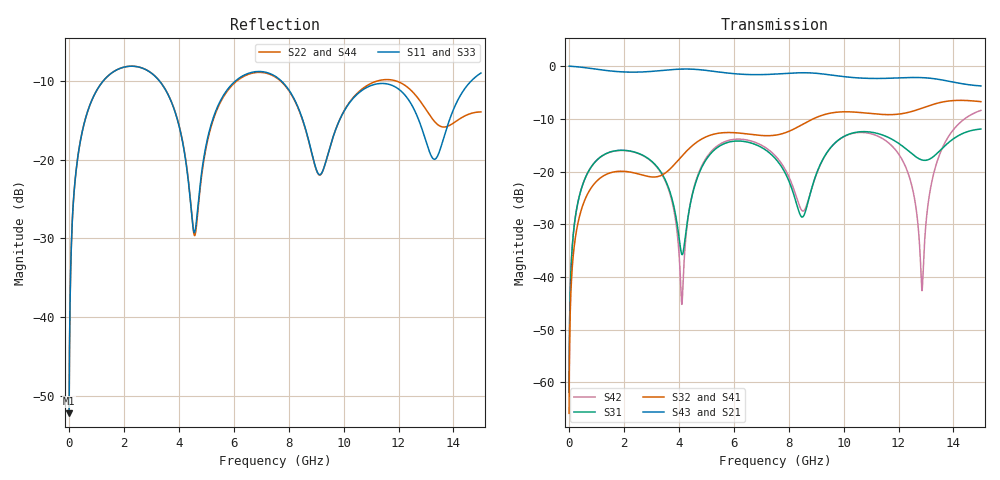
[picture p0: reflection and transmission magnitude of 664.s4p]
! Created with skrf 1.8.0 (http://scikit-rf.org).
# GHz S RI R 50.0
!freq ReS11 ImS11 ReS12 ImS12 ReS13 ImS13
! ReS14 ImS14
! ReS21 ImS21 ReS22 ImS22 ReS23 ImS23
! ReS24 ImS24
! ReS31 ImS31 ReS32 ImS32 ReS33 ImS33
! ReS34 ImS34
! ReS41 ImS41 ReS42 ImS42 ReS43 ImS43
! ReS44 ImS44
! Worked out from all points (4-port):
!   2499 points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, 5 MHz to 15 GHz, reference 50 ohm
!   strongest paths, dB at 5 MHz, 3.476 GHz, 7.19 GHz, 11.1 GHz, 15 GHz:
!     S43: 0.0, -0.8, -1.6, -2.3, -3.8
!     S21: 0.0, -0.8, -1.6, -2.3, -3.8
!     S32: -65.9, -20.4, -13.2, -9.1, -6.7
!     S41: -65.9, -20.4, -13.2, -9.1, -6.8
!     S31: -61.8, -21.3, -16.0, -12.6, -11.9
!     S42: -61.8, -21.5, -15.6, -13.0, -8.4
!   lowest |S11| = -52.2 dB at 5 MHz (marker M1), VSWR 1.00, Z = 50.2 + j0.149 ohm
!   |S11| at or under -10 dB: start of sweep to 1.253 GHz; 3.289 GHz to 6.07 GHz (2.781 GHz wide, 59.4 % of centre); 7.725 GHz to 14.65 GHz (6.929 GHz wide, 61.9 % of centre)
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0.005  0.00196 0.00148  0.998 -0.00381  0.0001 0.000803  -9.73e-05 -0.0005
       0.998 -0.00381  0.00196 0.00148  -9.73e-05 -0.0005  0.0001 0.000803
       0.0001 0.000803  -9.73e-05 -0.0005  0.00196 0.00148  0.998 -0.00381
       -9.73e-05 -0.0005  0.0001 0.000803  0.998 -0.00381  0.00196 0.00148
1.619545  0.3348 0.1347  0.3825 -0.8072  0.1519 0.036  -0.0964 0.022
          0.3825 -0.8072  0.3349 0.1346  -0.0965 0.022  0.1514 0.0371
          0.1519 0.036  -0.0965 0.022  0.3349 0.1348  0.3824 -0.8071
          -0.0964 0.022  0.1514 0.0371  0.3824 -0.8071  0.3351 0.1346
4.107962  0.0703 -0.1178  -0.8599 -0.3716  -0.0154 -0.00578  -0.0518 0.1298
          -0.8599 -0.3716  0.0697 -0.1198  -0.0512 0.1301  -0.00531 -0.00142
          -0.0154 -0.00578  -0.0512 0.1301  0.0713 -0.1189  -0.8596 -0.3717
          -0.0518 0.1298  -0.00531 -0.00142  -0.8596 -0.3717  0.0699 -0.1212
7.084202  0.3584 -0.0383  -0.00774 0.8304  0.1464 -0.0759  0.2096 -0.063
          -0.00774 0.8304  0.3547 -0.0324  0.2094 -0.0644  0.1485 -0.0895
          0.1464 -0.0759  0.2094 -0.0644  0.3576 -0.0395  -0.00644 0.8306
          0.2096 -0.063  0.1485 -0.0895  -0.00644 0.8306  0.3544 -0.0324
9.435181  0.0992 0.0453  0.8297 -0.0277  0.0469 0.1496  -0.0324 -0.3524
          0.8297 -0.0277  0.0977 0.048  -0.0349 -0.3524  0.0418 0.1505
          0.0469 0.1496  -0.0349 -0.3524  0.0983 0.0457  0.8294 -0.031
          -0.0324 -0.3524  0.0418 0.1505  0.8294 -0.031  0.0993 0.0492
12.85536  0.1373 -0.075  -0.4969 -0.5989  -0.0942 -0.0877  -0.3004 0.2624
          -0.4969 -0.5989  0.2002 -0.106  -0.2965 0.2671  0.00715 0.00196
          -0.0942 -0.0877  -0.2965 0.2671  0.1432 -0.0744  -0.501 -0.5941
          -0.3004 0.2624  0.00715 0.00196  -0.501 -0.5941  0.1994 -0.1131
15  0.3434 0.0864  -0.5638 0.3215  0.1406 0.21  0.3088 0.3395
    -0.5638 0.3215  0.1984 -0.0303  0.3137 0.3363  0.3711 0.0823
    0.1406 0.21  0.3137 0.3363  0.3447 0.0806  -0.5583 0.3295
    0.3088 0.3395  0.3711 0.0823  -0.5583 0.3295  0.2017 -0.0324
